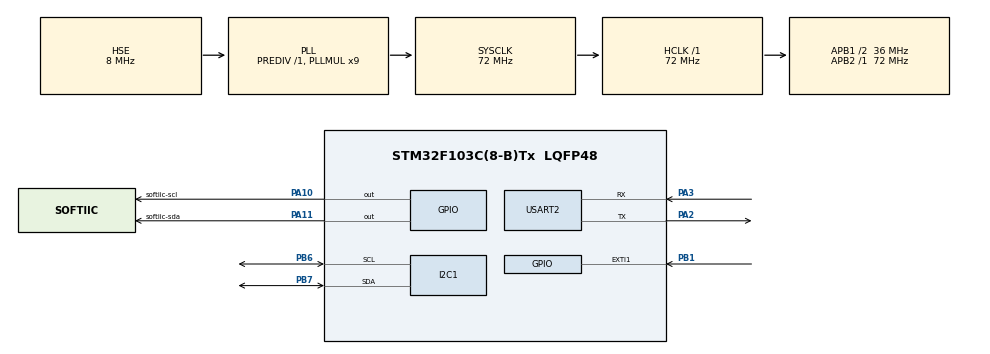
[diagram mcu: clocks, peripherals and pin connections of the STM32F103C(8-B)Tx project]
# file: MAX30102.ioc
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I2C1.I2C_Mode=I2C_Fast
Mcu.Family=STM32F1
Mcu.Name=STM32F103C(8-B)Tx
Mcu.Package=LQFP48
NVIC.EXTI1_IRQn=true\:0\:0\:false\:false\:true\:true\:true\:true
NVIC.PriorityGroup=NVIC_PRIORITYGROUP_4
PA10.GPIO_Label=softiic-scl
PA10.GPIO_Speed=GPIO_SPEED_FREQ_HIGH
PA10.PinState=GPIO_PIN_SET
PA10.Signal=GPIO_Output
PA11.GPIO_Label=softiic-sda
PA11.GPIO_ModeDefaultOutputPP=GPIO_MODE_OUTPUT_OD
PA11.GPIO_PuPd=GPIO_NOPULL
PA11.GPIO_Speed=GPIO_SPEED_FREQ_HIGH
PA11.PinState=GPIO_PIN_SET
PA11.Signal=GPIO_Output
PA13.Mode=Serial_Wire
PA13.Signal=SYS_JTMS-SWDIO
PA14.Mode=Serial_Wire
PA14.Signal=SYS_JTCK-SWCLK
PA2.Mode=Asynchronous
PA2.Signal=USART2_TX
PA3.Mode=Asynchronous
PA3.Signal=USART2_RX
PB1.GPIO_ModeDefaultEXTI=GPIO_MODE_IT_FALLING
PB1.GPIO_PuPd=GPIO_PULLUP
PB1.Signal=GPXTI1
PB6.Mode=I2C
PB6.Signal=I2C1_SCL
PB7.Mode=I2C
PB7.Signal=I2C1_SDA
PD0-OSC_IN.Mode=HSE-External-Oscillator
PD0-OSC_IN.Signal=RCC_OSC_IN
PD1-OSC_OUT.Mode=HSE-External-Oscillator
PD1-OSC_OUT.Signal=RCC_OSC_OUT
ProjectManager.HeapSize=0x200
ProjectManager.StackSize=0x400
ProjectManager.TargetToolchain=CMake
RCC.AHBFreq_Value=72000000
RCC.APB1CLKDivider=RCC_HCLK_DIV2
RCC.APB1Freq_Value=36000000
RCC.APB1TimFreq_Value=72000000
RCC.APB2Freq_Value=72000000
RCC.APB2TimFreq_Value=72000000
RCC.HCLKFreq_Value=72000000
RCC.PLLMUL=RCC_PLL_MUL9
RCC.PLLSourceVirtual=RCC_PLLSOURCE_HSE
RCC.SYSCLKFreq_VALUE=72000000
RCC.SYSCLKSource=RCC_SYSCLKSOURCE_PLLCLK
RCC.USBFreq_Value=72000000
TIM2.Prescaler=71
USART2.VirtualMode=VM_ASYNC
VP_TIM2_VS_ClockSourceINT.Mode=Internal
board=custom

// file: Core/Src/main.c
/* USER CODE BEGIN Header */
/**
  ******************************************************************************
  * @file           : main.c
  * @brief          : Main program body
  ******************************************************************************
  * @attention
  *
  * Copyright (c) 2025 STMicroelectronics.
  * All rights reserved.
  *
  * This software is licensed under terms that can be found in the LICENSE file
  * in the root directory of this software component.
  * If no LICENSE file comes with this software, it is provided AS-IS.
  *
  ******************************************************************************
  */
/* USER CODE END Header */
#include "main.h"
#include "i2c.h"
#include "tim.h"
#include "usart.h"
#include "gpio.h"

/* USER CODE BEGIN Includes */
#include "string.h"
#include "../../lib/oled/inc/oled.h"
#include "stdio.h"
#include "stdlib.h"
#include "math.h"
#include "../../lib/oled/inc/max30102.h"
#include "ppg_filter.h"
#include "ppg_algorithm.h"
#include "ppg_algorithm_v2.h"
/* USER CODE END Includes */

/* USER CODE BEGIN PD */

/*****************************************************************************
 * 算法方法选择
 * 取消注释其中一行来选择使用的算法：
 * - USE_ALGORITHM_METHOD1: 时域峰值检测算法 (默认)
 *   特点：快速响应(~5秒)，低内存(~2KB)，适合实时监测
 * - USE_ALGORITHM_METHOD2: 频域DPT变换算法
 *   特点：高精度(~10秒)，中等内存(~8KB)，基于ADI论文，抗噪声强
 *****************************************************************************/
#define USE_ALGORITHM_METHOD1       // 方法1: 时域峰值检测 (默认)
// #define USE_ALGORITHM_METHOD2    // 方法2: 频域DPT变换

// 确保只选择了一种方法
#if defined(USE_ALGORITHM_METHOD1) && defined(USE_ALGORITHM_METHOD2)
    #error "Error: Cannot use both methods simultaneously. Please comment out one."
#endif

#if !defined(USE_ALGORITHM_METHOD1) && !defined(USE_ALGORITHM_METHOD2)
    #error "Error: Must select one algorithm method. Please uncomment one method."
#endif

/* USER CODE END PD */

void SystemClock_Config(void);

/* USER CODE BEGIN 0 */
// 波形显示宏定义
#define WAVE_WIDTH  128       // 波形宽度（屏幕宽度）
#define WAVE_HEIGHT 40        // 波形高度
#define WAVE_Y_OFFSET 24      // 波形Y轴偏移（数值显示下方）
#define WAVE_SAMPLE_INTERVAL 2   // 每2个样本取一个点显示

// 全局中断标志位
volatile uint8_t max30102_interrupt_flag = 0;

// 用于printf重定向到UART
#ifdef __GNUC__
#define PUTCHAR_PROTOTYPE int __io_putchar(int ch)
#else
#define PUTCHAR_PROTOTYPE int fputc(int ch, FILE *f)
#endif
PUTCHAR_PROTOTYPE {
  HAL_UART_Transmit(&huart2, (uint8_t *)&ch, 1, 0xFFFF);
  return ch;
}

/**
  * @brief  外部中断回调函数
  * @param  GPIO_Pin: 触发中断的引脚
  * @retval None
  */
void HAL_GPIO_EXTI_Callback(uint16_t GPIO_Pin)
{
  // 判断是哪个引脚触发了中断
  // 现在中断线连接在 PB1 上，所以我们需要判断 GPIO_PIN_1
  if (GPIO_Pin == GPIO_PIN_1)
  {
    // 是我们的MAX30102中断，设置标志位
    max30102_interrupt_flag = 1;
  }

  // 如果还有其他外部中断，可以在这里用 else if 继续判断
  // else if (GPIO_Pin == GPIO_PIN_1) { ... }
}

/* USER CODE END 0 */

int main(void)
{

  /* MCU Configuration--------------------------------------------------------*/

  /* Reset of all peripherals, Initializes the Flash interface and the Systick. */
  HAL_Init();

  /* Configure the system clock */
  SystemClock_Config();

  /* Initialize all configured peripherals */
  MX_GPIO_Init();
  MX_USART2_UART_Init();
  MX_TIM2_Init();
  MX_I2C1_Init();
  /* USER CODE BEGIN 2 */

  /*******************************oled init********************************************/
  // 刚上电时STM32比OLED启动快，因此需要等待一段时间再初始化OLED
  HAL_Delay(20);
  // 初始化OLED
  OLED_Init();
  // 设置OLED显示模式：正常/反色
  OLED_SetColorMode(OLED_COLOR_NORMAL);
  // 设置OLED显示方向：0°/180°
  OLED_SetOrientation(OLED_Orientation_0);
  // 清空显示缓冲区
  OLED_ClearBuffer();
  // 将缓存内容更新到屏幕显示
  OLED_Refresh();
  /***********************************************************************************/

  printf("OLED Init Ok\r\n");

  /*******************************soft i2c********************************************/
  // !!! 启动TIM2定时器 !!!
  HAL_TIM_Base_Start(&htim2);
  Soft_I2C_Init(); // 初始化软件I2C的GPIO

  /***********************************************************************************/

  printf("MAX30102 Test Program\r\n");

  // 测试通信
  uint8_t part_id = MAX30102_ReadPartID();
  printf("MAX30102 Part ID: 0x%02X\r\n", part_id);
  if (part_id != 0x15) {
    printf("Error: MAX30102 not found!\r\n");
    while(1);
  }

  // 初始化MAX30102
  if (MAX30102_Init() != 0) {
    printf("MAX30102 Init Failed!\r\n");
    while(1);
  } else {
    printf("MAX30102 Init Success!\r\n");
  }

  /* USER CODE END 2 */

  /* USER CODE BEGIN WHILE */

  /**************************************************************************
   * 算法初始化 - 根据宏定义选择不同的算法
   **************************************************************************/

#ifdef USE_ALGORITHM_METHOD1
  printf("\r\n========================================\r\n");
  printf("  Algorithm: Method 1 - Time Domain Peak Detection\r\n");
  printf("  Features: Fast response (~5s), Low memory (~2KB)\r\n");
  printf("========================================\r\n\r\n");

  // 方法1: 时域峰值检测算法
  PPG_FilterState_t red_filter, ir_filter;
  PPG_Filter_Init(&red_filter);
  PPG_Filter_Init(&ir_filter);

  HR_State_t hr_state;
  SpO2_State_t spo2_state;
  HR_Init(&hr_state);
  SpO2_Init(&spo2_state);

  // 方法1特有的显示平滑变量
  float displayed_hr = 0.0f;
  #define DISPLAY_EMA_ALPHA 0.1f
  #define DISPLAY_HR_THRESHOLD 2.0f

#endif

#ifdef USE_ALGORITHM_METHOD2
  printf("\r\n========================================\r\n");
  printf("  Algorithm: Method 2 - DPT Frequency Domain\r\n");
  printf("  Features: High precision (~10s), Based on ADI paper\r\n");
  printf("  Buffer: %d samples (10 seconds)\r\n", DPT_BUFFER_SIZE);
  printf("  Period range: %d-%d samples (%d-%d bpm)\r\n",
         DPT_MIN_PERIOD, DPT_MAX_PERIOD,
         (int)(6000.0f / DPT_MAX_PERIOD), (int)(6000.0f / DPT_MIN_PERIOD));
  printf("========================================\r\n\r\n");

  // 方法2: 频域DPT变换算法
  DPT_State_t dpt_state;
  DPT_Init(&dpt_state);

#endif

  // 原始数据变量
  uint32_t raw_red, raw_ir;

  // 计算相关变量
  uint16_t sample_counter = 0;  // 采样计数器
  float heart_rate = 0.0f;
  float spo2 = 0.0f;
  char display_buf[32];

  // 显示平滑变量（方法2可选）
  float displayed_spo2 = 0.0f;

  // 波形显示相关变量
  float wave_buffer[WAVE_WIDTH]; // 波形缓冲区
  uint8_t wave_index = 0;        // 当前波形索引
  uint8_t wave_sample_counter = 0; // 波形采样计数器
  uint16_t display_counter = 0;     // 波形刷新计数器

  // 初始化波形缓冲区
  for (uint16_t i = 0; i < WAVE_WIDTH; i++) {
      wave_buffer[i] = 0.0f;
  }

  printf("Starting PPG signal processing...\r\n");

  while (1)
  {
      // 读取FIFO数据
      MAX30102_ReadFifo(&raw_red, &raw_ir);

      // 检查信号强度（确保手指放好）
      if (raw_red > 100000 && raw_ir > 100000) {

/**************************************************************************
 * 算法处理 - 根据宏定义选择不同的算法
 **************************************************************************/

#ifdef USE_ALGORITHM_METHOD1
          // ========== 方法1: 时域峰值检测算法 ==========

          // 1. 滤波处理
                     float ac_red = PPG_Filter_Process(&red_filter, raw_red);
                     float ac_ir = PPG_Filter_Process(&ir_filter, raw_ir);

                     // 2. 添加IR信号到心率缓冲区（优化内存使用）
                                float ir_dc = PPG_Filter_GetDC(&ir_filter);
                                HR_AddSample(&hr_state, ac_ir, ir_dc);

          // 2.1 更新波形显示（降采样）
          wave_sample_counter++;
          if (wave_sample_counter >= WAVE_SAMPLE_INTERVAL) {
              wave_sample_counter = 0;
              wave_buffer[wave_index] = ac_ir;
              wave_index = (wave_index + 1) % WAVE_WIDTH;
          }

          // 3. 每250个样本（2.5秒@100Hz）计算一次心率和血氧并更新显示
          sample_counter++;
          if (sample_counter >= 250) {
              sample_counter = 0;

              // 计算心率
              heart_rate = HR_Calculate(&hr_state);

              // 获取AC RMS和DC值
              float red_ac_rms = PPG_Filter_GetACRMS(&red_filter);
              float red_dc = PPG_Filter_GetDC(&red_filter);
              float ir_ac_rms = PPG_Filter_GetACRMS(&ir_filter);
              float ir_dc = PPG_Filter_GetDC(&ir_filter);

              // 计算血氧
              spo2 = SpO2_Calculate(&spo2_state, red_ac_rms, red_dc, ir_ac_rms, ir_dc);

              // === 显示平滑处理 ===
              // 1. 心率显示平滑
              if (HR_IsValid(&hr_state)) {
                  if (displayed_hr == 0.0f) {
                      displayed_hr = heart_rate;
                  } else {
                      float hr_diff = fabsf(heart_rate - displayed_hr);
                      if (hr_diff > DISPLAY_HR_THRESHOLD) {
                          displayed_hr = DISPLAY_EMA_ALPHA * heart_rate +
                                        (1.0f - DISPLAY_EMA_ALPHA) * displayed_hr;
                      }
                  }
              }

              // 2. 血氧显示平滑
              if (SpO2_IsValid(&spo2_state)) {
                  if (displayed_spo2 == 0.0f) {
                      displayed_spo2 = spo2;
                  } else {
                      displayed_spo2 = DISPLAY_EMA_ALPHA * spo2 +
                                      (1.0f - DISPLAY_EMA_ALPHA) * displayed_spo2;
                  }
              }

              // 输出结果
              if (HR_IsValid(&hr_state)) {
                  printf("[Method1] HR: %.1f BPM (Valid)\r\n", heart_rate);
              } else {
                  printf("[Method1] HR: %.1f BPM (Acquiring...)\r\n", heart_rate);
              }

              if (SpO2_IsValid(&spo2_state)) {
                  printf("[Method1] SpO2: %.1f %%\r\n", spo2);
              } else {
                  printf("[Method1] SpO2: --\r\n");
              }
#endif

#ifdef USE_ALGORITHM_METHOD2
          // ========== 方法2: 频域DPT变换算法 ==========

          // 1. DPT处理（内部包含IIR滤波和变换）
          DPT_Process(&dpt_state, raw_red, raw_ir);

          // 2. 更新波形显示（使用IR的AC信号）
          // 注意：DPT内部已经提取了AC信号，这里我们简化处理
          wave_sample_counter++;
          if (wave_sample_counter >= WAVE_SAMPLE_INTERVAL) {
              wave_sample_counter = 0;
              // 使用原始信号的相对变化作为波形（简化）
              static uint32_t last_ir = 0;
              if (last_ir > 0) {
                  wave_buffer[wave_index] = (float)((int32_t)raw_ir - (int32_t)last_ir);
              }
              last_ir = raw_ir;
              wave_index = (wave_index + 1) % WAVE_WIDTH;
          }

          // 3. 每250个样本（2.5秒@100Hz）更新显示
          sample_counter++;
          if (sample_counter >= 250) {
              sample_counter = 0;

              // 获取心率和血氧
              heart_rate = DPT_GetHeartRate(&dpt_state);
              spo2 = DPT_GetSpO2(&dpt_state);

              // 血氧显示平滑
              if (DPT_IsSpO2Valid(&dpt_state)) {
                  if (displayed_spo2 == 0.0f) {
                      displayed_spo2 = spo2;
                  } else {
                      displayed_spo2 = 0.15f * spo2 + 0.85f * displayed_spo2;
                  }
              }

              // 输出结果
              if (DPT_IsHeartRateValid(&dpt_state)) {
                  uint16_t peak_period = DPT_GetPeakPeriod(&dpt_state);
                  printf("[Method2] HR: %.1f BPM | Peak Period: %d samples (Valid)\r\n",
                         heart_rate, peak_period);
              } else {
                  printf("[Method2] HR: %.1f BPM (Acquiring...)\r\n", heart_rate);
              }

              if (DPT_IsSpO2Valid(&dpt_state)) {
                  printf("[Method2] SpO2: %.1f %%\r\n", spo2);
              } else {
                  printf("[Method2] SpO2: --\r\n");
              }
#endif

/**************************************************************************
 * OLED显示更新 - 两种方法共用
 **************************************************************************/

#if defined(USE_ALGORITHM_METHOD1) || defined(USE_ALGORITHM_METHOD2)
              // === OLED显示更新 ===
              OLED_ClearBuffer();

              // 1. 显示数值（顶部一行）
#ifdef USE_ALGORITHM_METHOD1
              if (HR_IsValid(&hr_state) && displayed_hr > 0.0f) {
                  sprintf(display_buf, "HR:%.0f", displayed_hr);
              } else {
                  sprintf(display_buf, "HR:--");
              }
#endif
#ifdef USE_ALGORITHM_METHOD2
              if (DPT_IsHeartRateValid(&dpt_state) && heart_rate > 0.0f) {
                  sprintf(display_buf, "HR:%.0f", heart_rate);
              } else {
                  sprintf(display_buf, "HR:--");
              }
#endif
              OLED_PrintChinese(0, 0, display_buf, 12, OLED_COLOR_NORMAL);

#ifdef USE_ALGORITHM_METHOD1
              if (SpO2_IsValid(&spo2_state) && displayed_spo2 > 0.0f) {
                  sprintf(display_buf, "SpO2:%.0f%%", displayed_spo2);
              } else {
                  sprintf(display_buf, "SpO2:--");
              }
#endif
#ifdef USE_ALGORITHM_METHOD2
              if (DPT_IsSpO2Valid(&dpt_state) && displayed_spo2 > 0.0f) {
                  sprintf(display_buf, "SpO2:%.0f%%", displayed_spo2);
              } else {
                  sprintf(display_buf, "SpO2:--");
              }
#endif
              OLED_PrintChinese(64, 0, display_buf, 12, OLED_COLOR_NORMAL);

              // 2. 绘制波形边框
              OLED_DrawRectangle(0, WAVE_Y_OFFSET - 1, WAVE_WIDTH - 1, WAVE_Y_OFFSET + WAVE_HEIGHT, OLED_COLOR_NORMAL);

              // 3. 找到波形的最大值和最小值（用于归一化）
              float wave_min = wave_buffer[0];
              float wave_max = wave_buffer[0];
              for (uint8_t i = 1; i < WAVE_WIDTH; i++) {
                  if (wave_buffer[i] < wave_min) wave_min = wave_buffer[i];
                  if (wave_buffer[i] > wave_max) wave_max = wave_buffer[i];
              }

              // 4. 绘制波形
              float wave_range = wave_max - wave_min;
              if (wave_range > 1.0f) { // 确保有足够的信号幅度
                  for (uint8_t x = 0; x < WAVE_WIDTH - 1; x++) {
                      // 归一化到波形高度范围
                      uint8_t y1 = WAVE_Y_OFFSET + WAVE_HEIGHT - 1 -
                                   (uint8_t)((wave_buffer[x] - wave_min) / wave_range * (WAVE_HEIGHT - 2));
                      uint8_t y2 = WAVE_Y_OFFSET + WAVE_HEIGHT - 1 -
                                   (uint8_t)((wave_buffer[x + 1] - wave_min) / wave_range * (WAVE_HEIGHT - 2));

                      // 限制Y坐标范围
                      if (y1 < WAVE_Y_OFFSET) y1 = WAVE_Y_OFFSET;
                      if (y1 >= WAVE_Y_OFFSET + WAVE_HEIGHT) y1 = WAVE_Y_OFFSET + WAVE_HEIGHT - 1;
                      if (y2 < WAVE_Y_OFFSET) y2 = WAVE_Y_OFFSET;
                      if (y2 >= WAVE_Y_OFFSET + WAVE_HEIGHT) y2 = WAVE_Y_OFFSET + WAVE_HEIGHT - 1;

                      // 画线连接两个点
                      OLED_DrawLine(x, y1, x + 1, y2, OLED_COLOR_NORMAL);
                  }
              }

              // 5. 在当前采样位置绘制游标（竖线）
              uint8_t cursor_x = wave_index;
              if (cursor_x < WAVE_WIDTH) {
                  OLED_DrawLine(cursor_x, WAVE_Y_OFFSET, cursor_x, WAVE_Y_OFFSET + WAVE_HEIGHT - 1, OLED_COLOR_REVERSED);
              }

              OLED_Refresh();
          }
#endif  // End of OLED display update

      } else {
          // 信号太弱，提示用户
          if (sample_counter == 0) {  // 避免频繁打印
              printf("Signal weak - Please place finger properly\r\n");

              // 显示提示信息
              OLED_ClearBuffer();
              OLED_PrintChinese(10, 20, "Please place", 12, OLED_COLOR_NORMAL);
              OLED_PrintChinese(10, 36, "finger on", 12, OLED_COLOR_NORMAL);
              OLED_PrintChinese(10, 52, "sensor", 12, OLED_COLOR_NORMAL);
              OLED_Refresh();
          }
          sample_counter = (sample_counter + 1) % 100;  // 每秒显示一次
      }

    // if (max30102_interrupt_flag == 1) {
      // max30102_interrupt_flag = 0;
      // printf("MAX30102 max30102_interrupt_flag is %d\r\n",max30102_interrupt_flag);
      // uint8_t status1, status2;
      // MAX30102_ReadInterruptStatus(&status1, &status2);
      // printf("MAX30102 Interrupt Status1: 0x%02X\r\n", status1);
      // printf("MAX30102 Interrupt Status2: 0x%02X\r\n", status2);

      // 检查是否是PPG_RDY或A_FULL中断
      // if (status1 & 0xC0) {
        // 循环读取FIFO中的所有样本
        // 这里简单处理，假设每次中断只读一次，实际应用中应根据FIFO指针计算可读样本数
        // MAX30102_ReadFifo(&red_val, &ir_val); /*包含了大量的GPIO操作和delay_us()延时,可能需要几百微秒*/

        // 将数据通过串口发送给MATLAB
        // 格式: "R,value1,I,value2\n"
        // printf("R,%lu,I,%lu\n", red_val, ir_val);
      // }

    // }

    // 这里可以加一个小的延时，避免过于频繁地查询I2C总线
    // HAL_Delay(1);

    // HAL_UART_Transmit(&huart2, (uint8_t*)"123456", strlen("123456"), 100);
    // HAL_UART_Transmit(&huart2, (uint8_t*)"\r\n", strlen("\r\n"), 100);
    // HAL_Delay(5000);

    // // 中英文字符串混合显示
    // OLED_ClearBuffer();
    // OLED_PrintChinese(0, 0, "THANKES", 16, OLED_COLOR_REVERSED);
    // OLED_Refresh();
    // HAL_Delay(500);
    // OLED_PrintChinese(0, 22, "You look cool", 16, OLED_COLOR_NORMAL);
    // OLED_Refresh();
    // HAL_Delay(500);
    // OLED_PrintChinese(0, 44, "\\^o^/", 16, OLED_COLOR_NORMAL);
    // OLED_Refresh();
    // HAL_Delay(1500);
    // // 显示变量值
    // int count = 0;
    // char buf[10] = {0};
    // OLED_ClearBuffer();
    // for(;;) {
    //   sprintf(buf, "%d %%", count);
    //   OLED_PrintChinese(40, 20, buf, 24, OLED_COLOR_NORMAL);
    //   OLED_Refresh();
    //   HAL_Delay(15);
    //   if(count++ > 99){
    //     break;
    //   }
    // }
    // HAL_Delay(1000);
    // // 直线绘制
    // OLED_ClearBuffer();
    // for (int i = 0; i < 128; i+=8) {
    //   OLED_DrawLine(0, 0, i, 63, OLED_COLOR_NORMAL);
    //   OLED_DrawLine(127, 0, 127 - i, 63, OLED_COLOR_NORMAL);
    //   OLED_Refresh();
    //   HAL_Delay(30);
    // }
    // HAL_Delay(1500);
    // // 矩形绘制
    // OLED_ClearBuffer();
    // for (int i = 0; i < 64; i+=8) {
    //   OLED_DrawRectangle(i, i/2, 127 - i, 63 - i/2, OLED_COLOR_NORMAL);
    //   OLED_Refresh();
    //   HAL_Delay(35);
    // }
    // HAL_Delay(1500);
    // // 矩形圆形
    // OLED_ClearBuffer();
    // for (int i = 63; i > 0; i-=8) {
    //   OLED_DrawCircle(64, 32, i/2, CIRCLE_ALL, OLED_COLOR_NORMAL);
    //   OLED_Refresh();
    //   HAL_Delay(40);
    // }
    // HAL_Delay(1500);
    // // 图片显示1
    // OLED_ClearBuffer();
    // OLED_DrawPicture(40, 7, 48, 48, icon_IDE, OLED_COLOR_NORMAL);
    // OLED_Refresh();
    // HAL_Delay(1700);
    // // 图片显示2
    // OLED_ClearBuffer();
    // OLED_DrawPicture(33, 2, 61, 58, icon_Bili, OLED_COLOR_NORMAL);
    // OLED_Refresh();
    // HAL_Delay(1700);
    /* USER CODE END WHILE */

  }
}

void SystemClock_Config(void)
{
  RCC_OscInitTypeDef RCC_OscInitStruct = {0};
  RCC_ClkInitTypeDef RCC_ClkInitStruct = {0};

  /** Initializes the RCC Oscillators according to the specified parameters
  * in the RCC_OscInitTypeDef structure.
  */
  RCC_OscInitStruct.OscillatorType = RCC_OSCILLATORTYPE_HSE;
  RCC_OscInitStruct.HSEState = RCC_HSE_ON;
  RCC_OscInitStruct.HSEPredivValue = RCC_HSE_PREDIV_DIV1;
  RCC_OscInitStruct.HSIState = RCC_HSI_ON;
  RCC_OscInitStruct.PLL.PLLState = RCC_PLL_ON;
  RCC_OscInitStruct.PLL.PLLSource = RCC_PLLSOURCE_HSE;
  RCC_OscInitStruct.PLL.PLLMUL = RCC_PLL_MUL9;
  if (HAL_RCC_OscConfig(&RCC_OscInitStruct) != HAL_OK)
  {
    Error_Handler();
  }

  /** Initializes the CPU, AHB and APB buses clocks
  */
  RCC_ClkInitStruct.ClockType = RCC_CLOCKTYPE_HCLK|RCC_CLOCKTYPE_SYSCLK
                              |RCC_CLOCKTYPE_PCLK1|RCC_CLOCKTYPE_PCLK2;
  RCC_ClkInitStruct.SYSCLKSource = RCC_SYSCLKSOURCE_PLLCLK;
  RCC_ClkInitStruct.AHBCLKDivider = RCC_SYSCLK_DIV1;
  RCC_ClkInitStruct.APB1CLKDivider = RCC_HCLK_DIV2;
  RCC_ClkInitStruct.APB2CLKDivider = RCC_HCLK_DIV1;

  if (HAL_RCC_ClockConfig(&RCC_ClkInitStruct, FLASH_LATENCY_2) != HAL_OK)
  {
    Error_Handler();
  }
}

void Error_Handler(void)
{
  __disable_irq();
  while (1)
  {
  }
}
